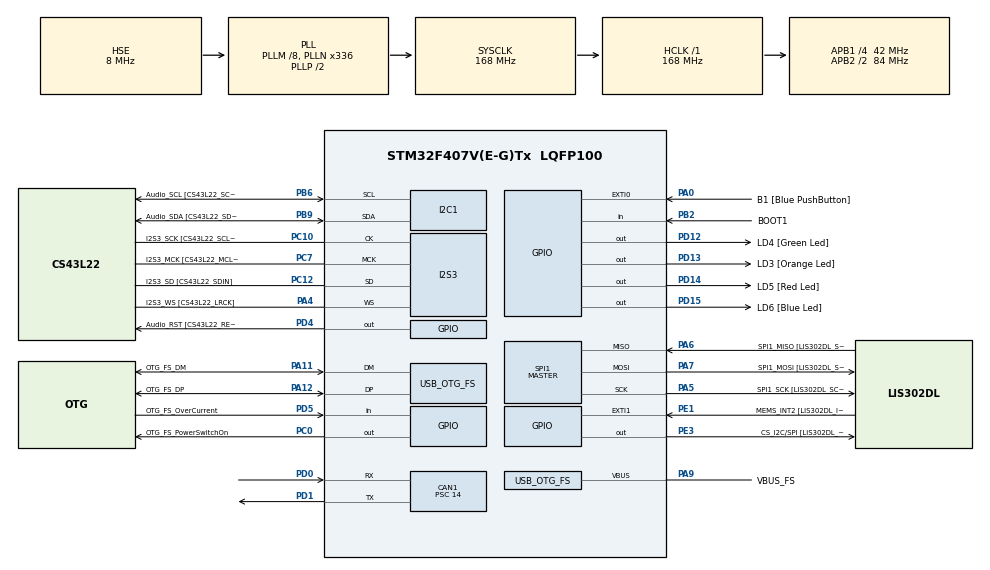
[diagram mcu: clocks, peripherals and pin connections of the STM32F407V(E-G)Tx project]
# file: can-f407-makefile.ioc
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CAN1.BS1=CAN_BS1_8TQ
CAN1.BS2=CAN_BS2_3TQ
CAN1.CalculateBaudRate=249999
CAN1.CalculateTimeBit=4000
CAN1.CalculateTimeQuantum=333.33333333333337
CAN1.Prescaler=14
I2S3.AudioFreq-Half_Duplex_Master=I2S_AUDIOFREQ_96K
I2S3.ErrorAudioFreq=-2.34 %
I2S3.ErrorAudioFreq-Half_Duplex_Master=0.8 %
I2S3.FullDuplexMode=I2S_FULLDUPLEXMODE_DISABLE
I2S3.Instance=SPI$Index
I2S3.RealAudioFreq=93.75 KHz
I2S3.RealAudioFreq-Half_Duplex_Master=96.774 KHz
I2S3.VirtualMode=I2S_MODE_MASTER
Mcu.Family=STM32F4
Mcu.Name=STM32F407V(E-G)Tx
Mcu.Package=LQFP100
NVIC.CAN1_RX0_IRQn=true\:0\:0\:false\:false\:true\:true\:true\:true
NVIC.OTG_FS_IRQn=true\:0\:0\:false\:false\:true\:true\:true\:true
NVIC.PriorityGroup=NVIC_PRIORITYGROUP_0
PA0-WKUP.GPIO_Label=B1 [Blue PushButton]
PA0-WKUP.GPIO_ModeDefaultEXTI=GPIO_MODE_EVT_RISING
PA0-WKUP.GPIO_PuPd=GPIO_NOPULL
PA0-WKUP.Signal=GPXTI0
PA10.GPIO_Label=OTG_FS_ID
PA10.GPIO_Mode=GPIO_MODE_AF_PP
PA10.GPIO_PuPd=GPIO_NOPULL
PA10.GPIO_Speed=GPIO_SPEED_FREQ_LOW
PA10.Signal=USB_OTG_FS_ID
PA11.GPIO_Label=OTG_FS_DM
PA11.GPIO_Mode=GPIO_MODE_AF_PP
PA11.GPIO_PuPd=GPIO_NOPULL
PA11.GPIO_Speed=GPIO_SPEED_FREQ_LOW
PA11.Mode=Host_Only
PA11.Signal=USB_OTG_FS_DM
PA12.GPIO_Label=OTG_FS_DP
PA12.GPIO_Mode=GPIO_MODE_AF_PP
PA12.GPIO_PuPd=GPIO_NOPULL
PA12.GPIO_Speed=GPIO_SPEED_FREQ_LOW
PA12.Mode=Host_Only
PA12.Signal=USB_OTG_FS_DP
PA13.GPIO_Label=SWDIO
PA13.Mode=Serial_Wire
PA13.Signal=SYS_JTMS-SWDIO
PA14.GPIO_Label=SWCLK
PA14.Mode=Serial_Wire
PA14.Signal=SYS_JTCK-SWCLK
PA4.GPIO_Label=I2S3_WS [CS43L22_LRCK]
PA4.GPIO_Mode=GPIO_MODE_AF_PP
PA4.GPIO_PuPd=GPIO_NOPULL
PA4.GPIO_Speed=GPIO_SPEED_FREQ_LOW
PA4.Mode=Half_Duplex_Master
PA4.Signal=I2S3_WS
PA5.GPIO_Label=SPI1_SCK [LIS302DL_SCL/SPC]
PA5.GPIO_Mode=GPIO_MODE_AF_PP
PA5.GPIO_PuPd=GPIO_NOPULL
PA5.GPIO_Speed=GPIO_SPEED_FREQ_LOW
PA5.Mode=Full_Duplex_Master
PA5.Signal=SPI1_SCK
PA6.GPIO_Label=SPI1_MISO [LIS302DL_SDO]
PA6.GPIO_Mode=GPIO_MODE_AF_PP
PA6.GPIO_PuPd=GPIO_NOPULL
PA6.GPIO_Speed=GPIO_SPEED_FREQ_LOW
PA6.Mode=Full_Duplex_Master
PA6.Signal=SPI1_MISO
PA7.GPIO_Label=SPI1_MOSI [LIS302DL_SDA/SDI/SDO]
PA7.GPIO_Mode=GPIO_MODE_AF_PP
PA7.GPIO_PuPd=GPIO_NOPULL
PA7.GPIO_Speed=GPIO_SPEED_FREQ_LOW
PA7.Mode=Full_Duplex_Master
PA7.Signal=SPI1_MOSI
PA9.GPIO_Label=VBUS_FS
PA9.GPIO_Mode=GPIO_MODE_INPUT
PA9.GPIO_PuPd=GPIO_NOPULL
PA9.Mode=Activate_VBUS
PA9.Signal=USB_OTG_FS_VBUS
PB10.GPIO_Label=CLK_IN [MP45DT02_CLK]
PB10.GPIO_Mode=GPIO_MODE_AF_PP
PB10.GPIO_PuPd=GPIO_NOPULL
PB10.GPIO_Speed=GPIO_SPEED_FREQ_LOW
PB10.Signal=I2S2_CK
PB2.GPIO_Label=BOOT1
PB2.GPIO_Mode=GPIO_MODE_INPUT
PB2.GPIO_PuPd=GPIO_NOPULL
PB2.Signal=GPIO_Input
PB3.GPIO_Label=SWO
PB3.Signal=SYS_JTDO-SWO
PB6.GPIO_Label=Audio_SCL [CS43L22_SCL]
PB6.GPIO_Mode=GPIO_MODE_AF_OD
PB6.GPIO_Pu=GPIO_PULLUP
PB6.GPIO_PuPd=GPIO_NOPULL
PB6.GPIO_Speed=GPIO_SPEED_FREQ_LOW
PB6.Mode=I2C
PB6.Signal=I2C1_SCL
PB9.GPIO_Label=Audio_SDA [CS43L22_SDA]
PB9.GPIO_Mode=GPIO_MODE_AF_OD
PB9.GPIO_Pu=GPIO_PULLUP
PB9.GPIO_PuPd=GPIO_NOPULL
PB9.GPIO_Speed=GPIO_SPEED_FREQ_LOW
PB9.Mode=I2C
PB9.Signal=I2C1_SDA
PC0.GPIO_Label=OTG_FS_PowerSwitchOn
PC0.GPIO_PuPd=GPIO_NOPULL
PC0.GPIO_Speed=GPIO_SPEED_FREQ_LOW
PC0.PinState=GPIO_PIN_SET
PC0.Signal=GPIO_Output
PC10.GPIO_Label=I2S3_SCK [CS43L22_SCLK]
PC10.GPIO_Mode=GPIO_MODE_AF_PP
PC10.GPIO_PuPd=GPIO_NOPULL
PC10.GPIO_Speed=GPIO_SPEED_FREQ_LOW
PC10.Mode=Half_Duplex_Master
PC10.Signal=I2S3_CK
PC12.GPIO_Label=I2S3_SD [CS43L22_SDIN]
PC12.GPIO_Mode=GPIO_MODE_AF_PP
PC12.GPIO_PuPd=GPIO_NOPULL
PC12.GPIO_Speed=GPIO_SPEED_FREQ_LOW
PC12.Mode=Half_Duplex_Master
PC12.Signal=I2S3_SD
PC14-OSC32_IN.GPIO_Label=PC14-OSC32_IN
PC14-OSC32_IN.Mode=LSE-External-Oscillator
PC14-OSC32_IN.Signal=RCC_OSC32_IN
PC15-OSC32_OUT.GPIO_Label=PC15-OSC32_OUT
PC15-OSC32_OUT.Mode=LSE-External-Oscillator
PC15-OSC32_OUT.Signal=RCC_OSC32_OUT
PC3.GPIO_Label=PDM_OUT [MP45DT02_DOUT]
PC3.GPIO_Mode=GPIO_MODE_AF_PP
PC3.GPIO_PuPd=GPIO_NOPULL
PC3.GPIO_Speed=GPIO_SPEED_FREQ_LOW
PC3.Signal=I2S2_SD
PC7.GPIO_Label=I2S3_MCK [CS43L22_MCLK]
PC7.GPIO_Mode=GPIO_MODE_AF_PP
PC7.GPIO_PuPd=GPIO_NOPULL
PC7.GPIO_Speed=GPIO_SPEED_FREQ_LOW
PC7.Mode=Master_Clock_Activated
PC7.Signal=I2S3_MCK
PD0.Mode=CAN_Activate
PD0.Signal=CAN1_RX
PD1.Mode=CAN_Activate
PD1.Signal=CAN1_TX
PD12.GPIO_Label=LD4 [Green Led]
PD12.GPIO_PuPd=GPIO_NOPULL
PD12.GPIO_Speed=GPIO_SPEED_FREQ_LOW
PD12.Signal=GPIO_Output
PD13.GPIO_Label=LD3 [Orange Led]
PD13.GPIO_PuPd=GPIO_NOPULL
PD13.GPIO_Speed=GPIO_SPEED_FREQ_LOW
PD13.Signal=GPIO_Output
PD14.GPIO_Label=LD5 [Red Led]
PD14.GPIO_PuPd=GPIO_NOPULL
PD14.GPIO_Speed=GPIO_SPEED_FREQ_LOW
PD14.Signal=GPIO_Output
PD15.GPIO_Label=LD6 [Blue Led]
PD15.GPIO_PuPd=GPIO_NOPULL
PD15.GPIO_Speed=GPIO_SPEED_FREQ_LOW
PD15.Signal=GPIO_Output
PD4.GPIO_Label=Audio_RST [CS43L22_RESET]
PD4.GPIO_PuPd=GPIO_NOPULL
PD4.GPIO_Speed=GPIO_SPEED_FREQ_LOW
PD4.Signal=GPIO_Output
PD5.GPIO_Label=OTG_FS_OverCurrent
PD5.GPIO_Mode=GPIO_MODE_INPUT
PD5.GPIO_PuPd=GPIO_NOPULL
PD5.Signal=GPIO_Input
PE1.GPIO_Label=MEMS_INT2 [LIS302DL_INT2]
PE1.GPIO_ModeDefaultEXTI=GPIO_MODE_EVT_RISING
PE1.GPIO_PuPd=GPIO_NOPULL
PE1.Signal=GPXTI1
PE3.GPIO_Label=CS_I2C/SPI [LIS302DL_CS_I2C/SPI]
PE3.GPIO_PuPd=GPIO_NOPULL
PE3.GPIO_Speed=GPIO_SPEED_FREQ_LOW
PE3.Signal=GPIO_Output
PH0-OSC_IN.GPIO_Label=PH0-OSC_IN
PH0-OSC_IN.Mode=HSE-External-Oscillator
PH0-OSC_IN.Signal=RCC_OSC_IN
PH1-OSC_OUT.GPIO_Label=PH1-OSC_OUT
PH1-OSC_OUT.Mode=HSE-External-Oscillator
PH1-OSC_OUT.Signal=RCC_OSC_OUT
ProjectManager.HeapSize=0x200
ProjectManager.StackSize=0x400
ProjectManager.TargetToolchain=Makefile
RCC.48MHZClocksFreq_Value=48000000
RCC.AHBFreq_Value=168000000
RCC.APB1CLKDivider=RCC_HCLK_DIV4
RCC.APB1Freq_Value=42000000
RCC.APB1TimFreq_Value=84000000
RCC.APB2CLKDivider=RCC_HCLK_DIV2
RCC.APB2Freq_Value=84000000
RCC.APB2TimFreq_Value=168000000
RCC.CortexFreq_Value=168000000
RCC.HCLKFreq_Value=168000000
RCC.HSE_VALUE=8000000
RCC.HSI_VALUE=16000000
RCC.PLLM=8
RCC.PLLN=336
RCC.PLLQ=7
RCC.SYSCLKFreq_VALUE=168000000
RCC.SYSCLKSource=RCC_SYSCLKSOURCE_PLLCLK
RCC.VCOOutputFreq_Value=336000000
SPI1.BaudRatePrescaler-Full_Duplex_Master=SPI_BAUDRATEPRESCALER_2
SPI1.CalculateBaudRate-Full_Duplex_Master=42.0 MBits/s
SPI1.Direction=SPI_DIRECTION_2LINES
SPI1.Mode=SPI_MODE_MASTER
SPI1.Mode-Full_Duplex_Master=SPI_MODE_MASTER
SPI1.VirtualType=VM_MASTER
USB_HOST.BSP.number=1
USB_HOST.USBH_HandleTypeDef-CDC_FS=hUsbHostFS
USB_HOST.VirtualModeFS=Cdc
USB_HOST0.BSP.STBoard=false
USB_HOST0.BSP.api=Unknown
USB_HOST0.BSP.instance=PC0
USB_HOST0.BSP.ip=GPIO
USB_HOST0.BSP.mode=Output
USB_HOST0.BSP.name=Drive_VBUS_FS
USB_HOST0.BSP.solution=PC0
USB_OTG_FS.VirtualMode=Host_Only
USB_OTG_FS.phy_itface=HCD_PHY_EMBEDDED
VP_USB_HOST_VS_USB_HOST_CDC_FS.Mode=CDC_FS
board=STM32F407G-DISC1

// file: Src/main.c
/* USER CODE BEGIN Header */
/**
  ******************************************************************************
  * @file           : main.c
  * @brief          : Main program body
  ******************************************************************************
  * @attention
  *
  * Copyright (c) 2026 STMicroelectronics.
  * All rights reserved.
  *
  * This software is licensed under terms that can be found in the LICENSE file
  * in the root directory of this software component.
  * If no LICENSE file comes with this software, it is provided AS-IS.
  *
  ******************************************************************************
  */
/* USER CODE END Header */
#include "main.h"
#include "usb_host.h"

CAN_HandleTypeDef hcan1;

I2C_HandleTypeDef hi2c1;

I2S_HandleTypeDef hi2s3;

SPI_HandleTypeDef hspi1;

CAN_TxHeaderTypeDef   TxHeader;
CAN_RxHeaderTypeDef   RxHeader;
uint8_t               TxData[8];
uint8_t               RxData[8];
uint32_t              TxMailbox;

void SystemClock_Config(void);
static void MX_GPIO_Init(void);
static void MX_CAN1_Init(void);
static void MX_I2C1_Init(void);
static void MX_I2S3_Init(void);
static void MX_SPI1_Init(void);
void MX_USB_HOST_Process(void);

int main(void)
{

  /* MCU Configuration--------------------------------------------------------*/

  /* Reset of all peripherals, Initializes the Flash interface and the Systick. */
  HAL_Init();

  /* Configure the system clock */
  SystemClock_Config();

  /* Initialize all configured peripherals */
  MX_GPIO_Init();
  MX_CAN1_Init();
  MX_I2C1_Init();
  MX_I2S3_Init();
  MX_SPI1_Init();
  MX_USB_HOST_Init();
  /* USER CODE BEGIN 2 */

  // --- STEP 1: CAN Filter Configuration ---
  // Setting all IDs and Masks to 0 accepts EVERY incoming message for testing purposes.
  CAN_FilterTypeDef sFilterConfig;

  sFilterConfig.FilterBank = 0;
  sFilterConfig.FilterMode = CAN_FILTERMODE_IDMASK;
  sFilterConfig.FilterScale = CAN_FILTERSCALE_32BIT;
  sFilterConfig.FilterIdHigh = 0x0000;
  sFilterConfig.FilterIdLow = 0x0000;
  sFilterConfig.FilterMaskIdHigh = 0x0000;
  sFilterConfig.FilterMaskIdLow = 0x0000;
  sFilterConfig.FilterFIFOAssignment = CAN_RX_FIFO0;
  sFilterConfig.FilterActivation = ENABLE;
  sFilterConfig.SlaveStartFilterBank = 14;

  if (HAL_CAN_ConfigFilter(&hcan1, &sFilterConfig) != HAL_OK)
  {
      Error_Handler();
  }

  // --- STEP 2: Start the CAN Peripheral ---
  if (HAL_CAN_Start(&hcan1) != HAL_OK)
  {
      Error_Handler();
  }

  // --- STEP 3: Activate RX Interrupt Notifications ---
  if (HAL_CAN_ActivateNotification(&hcan1, CAN_IT_RX_FIFO0_MSG_PENDING) != HAL_OK)
  {
      Error_Handler();
  }

  // --- STEP 4: Prepare Tx Message Header Attributes ---
  // TxHeader.StdId = 0x102;          // Example Message Identifier (Standard ID)
  TxHeader.RTR = CAN_RTR_DATA;     // We are sending data frames, not remote requests
  TxHeader.IDE = CAN_ID_STD;       // Standard 11-bit identifier format
  // TxHeader.DLC = 4;                // Sending 4 bytes of data payload
  TxHeader.TransmitGlobalTime = DISABLE;

  /* USER CODE END 2 */

  /* Infinite loop */
  while (1)
  {
    MX_USB_HOST_Process();

    // Showcase Loop
    if (0)
    {
      // ==========================================
      // Section 1: Headlights
      // ==========================================
      TxHeader.StdId = 0x102;          // Set the ID
      TxHeader.DLC = 1;                // 1 byte of data

      // Activate Headlights
      TxData[0] = 0x11;

      // Push Message 1 into a free hardware mailbox
      if (HAL_CAN_AddTxMessage(&hcan1, &TxHeader, TxData, &TxMailbox) != HAL_OK)
      {
          // Handle transmission error
      }
      HAL_Delay(1000);

      // Deactivate Headlights
      TxData[0] = 0x22;
      if (HAL_CAN_AddTxMessage(&hcan1, &TxHeader, TxData, &TxMailbox) != HAL_OK) {}
      HAL_Delay(1000);

      // ==========================================
      // Section 2: Bonnet
      // ==========================================
      TxHeader.StdId = 0x203;
      TxHeader.DLC = 1;

      // Open bonnet
      TxData[0] = 0x11;
      if (HAL_CAN_AddTxMessage(&hcan1, &TxHeader, TxData, &TxMailbox) != HAL_OK) {}
      HAL_Delay(1000);

      // Close bonnet
      TxData[0] = 0x22;
      if (HAL_CAN_AddTxMessage(&hcan1, &TxHeader, TxData, &TxMailbox) != HAL_OK) {}
      HAL_Delay(1000);

      // ==========================================
      // Section 3: Wheels
      // ==========================================
      TxHeader.StdId = 0x304;
      TxHeader.DLC = 1;

      // Spin wheels
      TxData[0] = 0x11;
      if (HAL_CAN_AddTxMessage(&hcan1, &TxHeader, TxData, &TxMailbox) != HAL_OK) {}
      HAL_Delay(1000);

      // Stop wheels
      TxData[0] = 0x22;
      if (HAL_CAN_AddTxMessage(&hcan1, &TxHeader, TxData, &TxMailbox) != HAL_OK) {}
      HAL_Delay(1000);
    }
  }
  /* USER CODE END 3 */
}

void SystemClock_Config(void)
{
  RCC_OscInitTypeDef RCC_OscInitStruct = {0};
  RCC_ClkInitTypeDef RCC_ClkInitStruct = {0};

  /** Configure the main internal regulator output voltage
  */
  __HAL_RCC_PWR_CLK_ENABLE();
  __HAL_PWR_VOLTAGESCALING_CONFIG(PWR_REGULATOR_VOLTAGE_SCALE1);

  /** Initializes the RCC Oscillators according to the specified parameters
  * in the RCC_OscInitTypeDef structure.
  */
  RCC_OscInitStruct.OscillatorType = RCC_OSCILLATORTYPE_HSE;
  RCC_OscInitStruct.HSEState = RCC_HSE_ON;
  RCC_OscInitStruct.PLL.PLLState = RCC_PLL_ON;
  RCC_OscInitStruct.PLL.PLLSource = RCC_PLLSOURCE_HSE;
  RCC_OscInitStruct.PLL.PLLM = 8;
  RCC_OscInitStruct.PLL.PLLN = 336;
  RCC_OscInitStruct.PLL.PLLP = RCC_PLLP_DIV2;
  RCC_OscInitStruct.PLL.PLLQ = 7;
  if (HAL_RCC_OscConfig(&RCC_OscInitStruct) != HAL_OK)
  {
    Error_Handler();
  }

  /** Initializes the CPU, AHB and APB buses clocks
  */
  RCC_ClkInitStruct.ClockType = RCC_CLOCKTYPE_HCLK|RCC_CLOCKTYPE_SYSCLK
                              |RCC_CLOCKTYPE_PCLK1|RCC_CLOCKTYPE_PCLK2;
  RCC_ClkInitStruct.SYSCLKSource = RCC_SYSCLKSOURCE_PLLCLK;
  RCC_ClkInitStruct.AHBCLKDivider = RCC_SYSCLK_DIV1;
  RCC_ClkInitStruct.APB1CLKDivider = RCC_HCLK_DIV4;
  RCC_ClkInitStruct.APB2CLKDivider = RCC_HCLK_DIV2;

  if (HAL_RCC_ClockConfig(&RCC_ClkInitStruct, FLASH_LATENCY_5) != HAL_OK)
  {
    Error_Handler();
  }
}

static void MX_CAN1_Init(void)
{

  hcan1.Instance = CAN1;
  hcan1.Init.Prescaler = 14;
  hcan1.Init.Mode = CAN_MODE_NORMAL;
  hcan1.Init.SyncJumpWidth = CAN_SJW_1TQ;
  hcan1.Init.TimeSeg1 = CAN_BS1_8TQ;
  hcan1.Init.TimeSeg2 = CAN_BS2_3TQ;
  hcan1.Init.TimeTriggeredMode = DISABLE;
  hcan1.Init.AutoBusOff = DISABLE;
  hcan1.Init.AutoWakeUp = DISABLE;
  hcan1.Init.AutoRetransmission = DISABLE;
  hcan1.Init.ReceiveFifoLocked = DISABLE;
  hcan1.Init.TransmitFifoPriority = DISABLE;
  if (HAL_CAN_Init(&hcan1) != HAL_OK)
  {
    Error_Handler();
  }

}

static void MX_I2C1_Init(void)
{

  hi2c1.Instance = I2C1;
  hi2c1.Init.ClockSpeed = 100000;
  hi2c1.Init.DutyCycle = I2C_DUTYCYCLE_2;
  hi2c1.Init.OwnAddress1 = 0;
  hi2c1.Init.AddressingMode = I2C_ADDRESSINGMODE_7BIT;
  hi2c1.Init.DualAddressMode = I2C_DUALADDRESS_DISABLE;
  hi2c1.Init.OwnAddress2 = 0;
  hi2c1.Init.GeneralCallMode = I2C_GENERALCALL_DISABLE;
  hi2c1.Init.NoStretchMode = I2C_NOSTRETCH_DISABLE;
  if (HAL_I2C_Init(&hi2c1) != HAL_OK)
  {
    Error_Handler();
  }

}

static void MX_I2S3_Init(void)
{

  hi2s3.Instance = SPI3;
  hi2s3.Init.Mode = I2S_MODE_MASTER_TX;
  hi2s3.Init.Standard = I2S_STANDARD_PHILIPS;
  hi2s3.Init.DataFormat = I2S_DATAFORMAT_16B;
  hi2s3.Init.MCLKOutput = I2S_MCLKOUTPUT_ENABLE;
  hi2s3.Init.AudioFreq = I2S_AUDIOFREQ_96K;
  hi2s3.Init.CPOL = I2S_CPOL_LOW;
  hi2s3.Init.ClockSource = I2S_CLOCK_PLL;
  hi2s3.Init.FullDuplexMode = I2S_FULLDUPLEXMODE_DISABLE;
  if (HAL_I2S_Init(&hi2s3) != HAL_OK)
  {
    Error_Handler();
  }

}

static void MX_SPI1_Init(void)
{

  /* SPI1 parameter configuration*/
  hspi1.Instance = SPI1;
  hspi1.Init.Mode = SPI_MODE_MASTER;
  hspi1.Init.Direction = SPI_DIRECTION_2LINES;
  hspi1.Init.DataSize = SPI_DATASIZE_8BIT;
  hspi1.Init.CLKPolarity = SPI_POLARITY_LOW;
  hspi1.Init.CLKPhase = SPI_PHASE_1EDGE;
  hspi1.Init.NSS = SPI_NSS_SOFT;
  hspi1.Init.BaudRatePrescaler = SPI_BAUDRATEPRESCALER_2;
  hspi1.Init.FirstBit = SPI_FIRSTBIT_MSB;
  hspi1.Init.TIMode = SPI_TIMODE_DISABLE;
  hspi1.Init.CRCCalculation = SPI_CRCCALCULATION_DISABLE;
  hspi1.Init.CRCPolynomial = 10;
  if (HAL_SPI_Init(&hspi1) != HAL_OK)
  {
    Error_Handler();
  }

}

static void MX_GPIO_Init(void)
{
  GPIO_InitTypeDef GPIO_InitStruct = {0};

  /* GPIO Ports Clock Enable */
  __HAL_RCC_GPIOE_CLK_ENABLE();
  __HAL_RCC_GPIOC_CLK_ENABLE();
  __HAL_RCC_GPIOH_CLK_ENABLE();
  __HAL_RCC_GPIOA_CLK_ENABLE();
  __HAL_RCC_GPIOB_CLK_ENABLE();
  __HAL_RCC_GPIOD_CLK_ENABLE();

  /*Configure GPIO pin Output Level */
  HAL_GPIO_WritePin(CS_I2C_SPI_GPIO_Port, CS_I2C_SPI_Pin, GPIO_PIN_RESET);

  /*Configure GPIO pin Output Level */
  HAL_GPIO_WritePin(OTG_FS_PowerSwitchOn_GPIO_Port, OTG_FS_PowerSwitchOn_Pin, GPIO_PIN_SET);

  /*Configure GPIO pin Output Level */
  HAL_GPIO_WritePin(GPIOD, LD4_Pin|LD3_Pin|LD5_Pin|LD6_Pin
                          |Audio_RST_Pin, GPIO_PIN_RESET);

  /*Configure GPIO pin : CS_I2C_SPI_Pin */
  GPIO_InitStruct.Pin = CS_I2C_SPI_Pin;
  GPIO_InitStruct.Mode = GPIO_MODE_OUTPUT_PP;
  GPIO_InitStruct.Pull = GPIO_NOPULL;
  GPIO_InitStruct.Speed = GPIO_SPEED_FREQ_LOW;
  HAL_GPIO_Init(CS_I2C_SPI_GPIO_Port, &GPIO_InitStruct);

  /*Configure GPIO pin : OTG_FS_PowerSwitchOn_Pin */
  GPIO_InitStruct.Pin = OTG_FS_PowerSwitchOn_Pin;
  GPIO_InitStruct.Mode = GPIO_MODE_OUTPUT_PP;
  GPIO_InitStruct.Pull = GPIO_NOPULL;
  GPIO_InitStruct.Speed = GPIO_SPEED_FREQ_LOW;
  HAL_GPIO_Init(OTG_FS_PowerSwitchOn_GPIO_Port, &GPIO_InitStruct);

  /*Configure GPIO pin : PDM_OUT_Pin */
  GPIO_InitStruct.Pin = PDM_OUT_Pin;
  GPIO_InitStruct.Mode = GPIO_MODE_AF_PP;
  GPIO_InitStruct.Pull = GPIO_NOPULL;
  GPIO_InitStruct.Speed = GPIO_SPEED_FREQ_LOW;
  GPIO_InitStruct.Alternate = GPIO_AF5_SPI2;
  HAL_GPIO_Init(PDM_OUT_GPIO_Port, &GPIO_InitStruct);

  /*Configure GPIO pin : B1_Pin */
  GPIO_InitStruct.Pin = B1_Pin;
  GPIO_InitStruct.Mode = GPIO_MODE_EVT_RISING;
  GPIO_InitStruct.Pull = GPIO_NOPULL;
  HAL_GPIO_Init(B1_GPIO_Port, &GPIO_InitStruct);

  /*Configure GPIO pin : BOOT1_Pin */
  GPIO_InitStruct.Pin = BOOT1_Pin;
  GPIO_InitStruct.Mode = GPIO_MODE_INPUT;
  GPIO_InitStruct.Pull = GPIO_NOPULL;
  HAL_GPIO_Init(BOOT1_GPIO_Port, &GPIO_InitStruct);

  /*Configure GPIO pin : CLK_IN_Pin */
  GPIO_InitStruct.Pin = CLK_IN_Pin;
  GPIO_InitStruct.Mode = GPIO_MODE_AF_PP;
  GPIO_InitStruct.Pull = GPIO_NOPULL;
  GPIO_InitStruct.Speed = GPIO_SPEED_FREQ_LOW;
  GPIO_InitStruct.Alternate = GPIO_AF5_SPI2;
  HAL_GPIO_Init(CLK_IN_GPIO_Port, &GPIO_InitStruct);

  /*Configure GPIO pins : LD4_Pin LD3_Pin LD5_Pin LD6_Pin
                           Audio_RST_Pin */
  GPIO_InitStruct.Pin = LD4_Pin|LD3_Pin|LD5_Pin|LD6_Pin
                          |Audio_RST_Pin;
  GPIO_InitStruct.Mode = GPIO_MODE_OUTPUT_PP;
  GPIO_InitStruct.Pull = GPIO_NOPULL;
  GPIO_InitStruct.Speed = GPIO_SPEED_FREQ_LOW;
  HAL_GPIO_Init(GPIOD, &GPIO_InitStruct);

  /*Configure GPIO pin : OTG_FS_OverCurrent_Pin */
  GPIO_InitStruct.Pin = OTG_FS_OverCurrent_Pin;
  GPIO_InitStruct.Mode = GPIO_MODE_INPUT;
  GPIO_InitStruct.Pull = GPIO_NOPULL;
  HAL_GPIO_Init(OTG_FS_OverCurrent_GPIO_Port, &GPIO_InitStruct);

  /*Configure GPIO pin : MEMS_INT2_Pin */
  GPIO_InitStruct.Pin = MEMS_INT2_Pin;
  GPIO_InitStruct.Mode = GPIO_MODE_EVT_RISING;
  GPIO_InitStruct.Pull = GPIO_NOPULL;
  HAL_GPIO_Init(MEMS_INT2_GPIO_Port, &GPIO_InitStruct);

}

void Error_Handler(void)
{
  __disable_irq();
  while (1)
  {
  }
}
